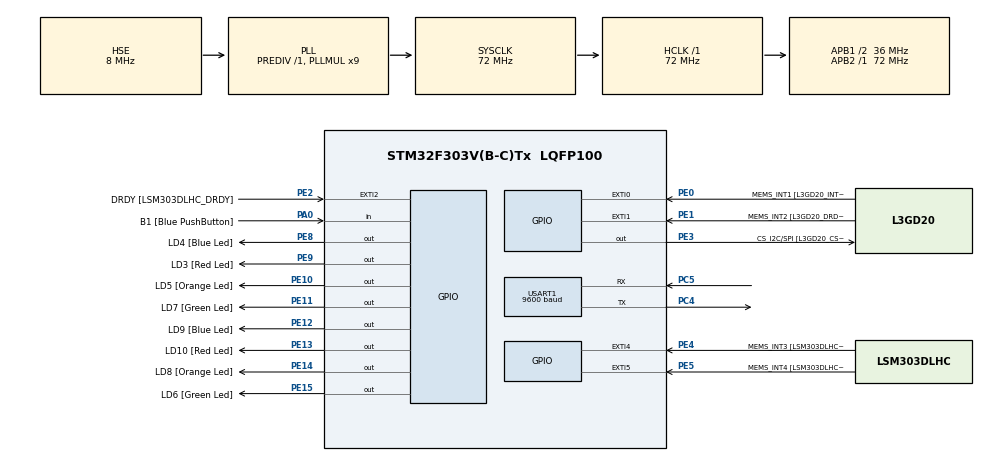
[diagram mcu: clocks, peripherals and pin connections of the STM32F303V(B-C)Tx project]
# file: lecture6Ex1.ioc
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Mcu.Family=STM32F3
Mcu.Name=STM32F303V(B-C)Tx
Mcu.Package=LQFP100
NVIC.PriorityGroup=NVIC_PRIORITYGROUP_0
NVIC.USART1_IRQn=true\:0\:0\:false\:false\:true\:true\:true
PA0.GPIO_Label=B1 [Blue PushButton]
PA0.GPIO_Mode=GPIO_MODE_INPUT
PA0.GPIO_PuPd=GPIO_NOPULL
PA0.Signal=GPIO_Input
PA11.GPIO_Label=DM
PA11.Signal=USB_DM
PA12.GPIO_Label=DP
PA12.Signal=USB_DP
PA13.GPIO_Label=SWDIO
PA13.Signal=SYS_JTMS-SWDIO
PA14.GPIO_Label=SWCLK
PA14.Signal=SYS_JTCK-SWCLK
PA5.GPIO_Label=SPI1_SCK [L3GD20_SCL/SPC]
PA5.GPIO_Mode=GPIO_MODE_AF_PP
PA5.GPIO_PuPd=GPIO_NOPULL
PA5.GPIO_Speed=GPIO_SPEED_FREQ_LOW
PA5.Signal=SPI1_SCK
PA6.GPIO_Label=SPI1_MISO [L3GD20_SA0/SDO]
PA6.GPIO_Mode=GPIO_MODE_AF_PP
PA6.GPIO_PuPd=GPIO_NOPULL
PA6.GPIO_Speed=GPIO_SPEED_FREQ_LOW
PA6.Signal=SPI1_MISO
PA7.GPIO_Label=SPI1_MISO [L3GD20_SDA/SDI/SDO]
PA7.GPIO_Mode=GPIO_MODE_AF_PP
PA7.GPIO_PuPd=GPIO_NOPULL
PA7.GPIO_Speed=GPIO_SPEED_FREQ_LOW
PA7.Signal=SPI1_MOSI
PB3.GPIO_Label=SWO
PB3.Signal=SYS_JTDO-TRACESWO
PB6.GPIO_FM6=__NULL
PB6.GPIO_Label=I2C1_SCL [LSM303DLHC_SCL]
PB6.GPIO_Mode=GPIO_MODE_AF_OD
PB6.GPIO_PuPd=GPIO_NOPULL
PB6.GPIO_Speed=GPIO_SPEED_FREQ_LOW
PB6.Signal=I2C1_SCL
PB7.GPIO_FM7=__NULL
PB7.GPIO_Label=I2C1_SDA [LSM303DLHC_SDA]
PB7.GPIO_Mode=GPIO_MODE_AF_OD
PB7.GPIO_PuPd=GPIO_NOPULL
PB7.GPIO_Speed=GPIO_SPEED_FREQ_LOW
PB7.Signal=I2C1_SDA
PC14-OSC32_IN.GPIO_Label=OSC32_IN
PC14-OSC32_IN.Signal=RCC_OSC32_IN
PC15-OSC32_OUT.GPIO_Label=OSC32_OUT
PC15-OSC32_OUT.Signal=RCC_OSC32_OUT
PC4.Mode=Asynchronous
PC4.Signal=USART1_TX
PC5.Mode=Asynchronous
PC5.Signal=USART1_RX
PE0.GPIO_Label=MEMS_INT1 [L3GD20_INT1]
PE0.GPIO_ModeDefaultEXTI=GPIO_MODE_EVT_RISING
PE0.GPIO_PuPd=GPIO_NOPULL
PE0.Signal=GPXTI0
PE1.GPIO_Label=MEMS_INT2 [L3GD20_DRDY/INT2]
PE1.GPIO_ModeDefaultEXTI=GPIO_MODE_EVT_RISING
PE1.GPIO_PuPd=GPIO_NOPULL
PE1.Signal=GPXTI1
PE10.GPIO_Label=LD5 [Orange Led]
PE10.GPIO_ModeDefaultOutputPP=GPIO_MODE_OUTPUT_PP
PE10.GPIO_PuPd=GPIO_NOPULL
PE10.GPIO_Speed=GPIO_SPEED_FREQ_LOW
PE10.Signal=GPIO_Output
PE11.GPIO_Label=LD7 [Green Led]
PE11.GPIO_ModeDefaultOutputPP=GPIO_MODE_OUTPUT_PP
PE11.GPIO_PuPd=GPIO_NOPULL
PE11.GPIO_Speed=GPIO_SPEED_FREQ_LOW
PE11.Signal=GPIO_Output
PE12.GPIO_Label=LD9 [Blue Led]
PE12.GPIO_ModeDefaultOutputPP=GPIO_MODE_OUTPUT_PP
PE12.GPIO_PuPd=GPIO_NOPULL
PE12.GPIO_Speed=GPIO_SPEED_FREQ_LOW
PE12.Signal=GPIO_Output
PE13.GPIO_Label=LD10 [Red Led]
PE13.GPIO_ModeDefaultOutputPP=GPIO_MODE_OUTPUT_PP
PE13.GPIO_PuPd=GPIO_NOPULL
PE13.GPIO_Speed=GPIO_SPEED_FREQ_LOW
PE13.Signal=GPIO_Output
PE14.GPIO_Label=LD8 [Orange Led]
PE14.GPIO_ModeDefaultOutputPP=GPIO_MODE_OUTPUT_PP
PE14.GPIO_PuPd=GPIO_NOPULL
PE14.GPIO_Speed=GPIO_SPEED_FREQ_LOW
PE14.Signal=GPIO_Output
PE15.GPIO_Label=LD6 [Green Led]
PE15.GPIO_ModeDefaultOutputPP=GPIO_MODE_OUTPUT_PP
PE15.GPIO_PuPd=GPIO_NOPULL
PE15.GPIO_Speed=GPIO_SPEED_FREQ_LOW
PE15.Signal=GPIO_Output
PE2.GPIO_Label=DRDY [LSM303DLHC_DRDY]
PE2.GPIO_ModeDefaultEXTI=GPIO_MODE_EVT_RISING
PE2.GPIO_PuPd=GPIO_NOPULL
PE2.Signal=GPXTI2
PE3.GPIO_Label=CS_I2C/SPI [L3GD20_CS_I2C/SPI]
PE3.GPIO_ModeDefaultOutputPP=GPIO_MODE_OUTPUT_PP
PE3.GPIO_PuPd=GPIO_NOPULL
PE3.GPIO_Speed=GPIO_SPEED_FREQ_LOW
PE3.Signal=GPIO_Output
PE4.GPIO_Label=MEMS_INT3 [LSM303DLHC_INT1]
PE4.GPIO_ModeDefaultEXTI=GPIO_MODE_EVT_RISING
PE4.GPIO_PuPd=GPIO_NOPULL
PE4.Signal=GPXTI4
PE5.GPIO_Label=MEMS_INT4 [LSM303DLHC_INT2]
PE5.GPIO_ModeDefaultEXTI=GPIO_MODE_EVT_RISING
PE5.GPIO_PuPd=GPIO_NOPULL
PE5.Signal=GPXTI5
PE8.GPIO_Label=LD4 [Blue Led]
PE8.GPIO_ModeDefaultOutputPP=GPIO_MODE_OUTPUT_PP
PE8.GPIO_PuPd=GPIO_NOPULL
PE8.GPIO_Speed=GPIO_SPEED_FREQ_LOW
PE8.Signal=GPIO_Output
PE9.GPIO_Label=LD3 [Red Led]
PE9.GPIO_ModeDefaultOutputPP=GPIO_MODE_OUTPUT_PP
PE9.GPIO_PuPd=GPIO_NOPULL
PE9.GPIO_Speed=GPIO_SPEED_FREQ_LOW
PE9.Signal=GPIO_Output
PF0-OSC_IN.GPIO_Label=OSC_IN
PF0-OSC_IN.Mode=HSE-External-Oscillator
PF0-OSC_IN.Signal=RCC_OSC_IN
PF1-OSC_OUT.GPIO_Label=OSC_OUT
PF1-OSC_OUT.Mode=HSE-External-Oscillator
PF1-OSC_OUT.Signal=RCC_OSC_OUT
ProjectManager.HeapSize=0x200
ProjectManager.StackSize=0x400
ProjectManager.TargetToolchain=MDK-ARM V5.27
RCC.AHBFreq_Value=72000000
RCC.APB1CLKDivider=RCC_HCLK_DIV2
RCC.APB1Freq_Value=36000000
RCC.APB1TimFreq_Value=72000000
RCC.APB2Freq_Value=72000000
RCC.APB2TimFreq_Value=72000000
RCC.CortexFreq_Value=72000000
RCC.HCLKFreq_Value=72000000
RCC.HSE_VALUE=8000000
RCC.HSI_VALUE=8000000
RCC.LSE_VALUE=32768
RCC.PLLMUL=RCC_PLL_MUL9
RCC.PLLSourceVirtual=RCC_PLLSOURCE_HSE
RCC.SYSCLKFreq_VALUE=72000000
RCC.SYSCLKSourceVirtual=RCC_SYSCLKSOURCE_PLLCLK
RCC.USBFreq_Value=72000000
USART1.BaudRate=9600
USART1.VirtualMode-Asynchronous=VM_ASYNC
board=STM32F3DISCOVERY

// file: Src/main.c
/* USER CODE BEGIN Header */
/**
  ******************************************************************************
  * @file           : main.c
  * @brief          : Ex1 - Reimplement UART driver with Interrupts

  ******************************************************************************
  * @attention
  *
  * <h2><center>&copy; Copyright (c) 2020 STMicroelectronics.
  * All rights reserved.</center></h2>
  *
  * This software component is licensed by ST under BSD 3-Clause license,
  * the "License"; You may not use this file except in compliance with the
  * License. You may obtain a copy of the License at:
  *                        opensource.org/licenses/BSD-3-Clause
  *
  ******************************************************************************
  */
/* USER CODE END Header */

#include "main.h"

UART_HandleTypeDef huart1;

void SystemClock_Config(void);
static void MX_GPIO_Init(void);
static void MX_USART1_UART_Init(void);

int main(void)
{

  /* MCU Configuration--------------------------------------------------------*/

  /* Reset of all peripherals, Initializes the Flash interface and the Systick. */
  HAL_Init();

  /* Configure the system clock */
  SystemClock_Config();

  /* Initialize all configured peripherals */
  MX_GPIO_Init();
  MX_USART1_UART_Init();
  /* USER CODE BEGIN 2 */

  /*! user command manual */
	HAL_UART_Transmit_IT(&huart1, (uint8_t*)"For [BLUE-LED] send symbol: b\rFor [ORANGE-LED] send symbol: o\rFor [GREEN-LED] send symbol: g\rFor [BLUE-LED] send symbol: b\r", 123);

	uint8_t data = 0;

  /* USER CODE END 2 */

  /* Infinite loop */
  /* USER CODE BEGIN WHILE */
	 while (1) {
	  if (HAL_UART_Receive_IT(&huart1, &data, 1) == HAL_OK) {
			switch(data) {
				case 'b':
					HAL_GPIO_TogglePin (GPIOE, GPIO_PIN_8);
					HAL_GPIO_TogglePin (GPIOE, GPIO_PIN_12);
				break;

				case 'r':
					HAL_GPIO_TogglePin (GPIOE, GPIO_PIN_9);
				  HAL_GPIO_TogglePin (GPIOE, GPIO_PIN_13);
				break;

				case 'o':
					HAL_GPIO_TogglePin (GPIOE, GPIO_PIN_10);
				  HAL_GPIO_TogglePin (GPIOE, GPIO_PIN_14);
				break;

				case 'g':
					HAL_GPIO_TogglePin (GPIOE, GPIO_PIN_11);
				  HAL_GPIO_TogglePin (GPIOE, GPIO_PIN_15);
				break;

				default:
					/*! write data */
					HAL_UART_Transmit_IT(&huart1, &data, 1);
	  }

	}

    /* USER CODE END WHILE */

  }
}

void SystemClock_Config(void)
{
  RCC_OscInitTypeDef RCC_OscInitStruct = {0};
  RCC_ClkInitTypeDef RCC_ClkInitStruct = {0};
  RCC_PeriphCLKInitTypeDef PeriphClkInit = {0};

  /** Initializes the CPU, AHB and APB busses clocks
  */
  RCC_OscInitStruct.OscillatorType = RCC_OSCILLATORTYPE_HSE;
  RCC_OscInitStruct.HSEState = RCC_HSE_ON;
  RCC_OscInitStruct.HSEPredivValue = RCC_HSE_PREDIV_DIV1;
  RCC_OscInitStruct.HSIState = RCC_HSI_ON;
  RCC_OscInitStruct.PLL.PLLState = RCC_PLL_ON;
  RCC_OscInitStruct.PLL.PLLSource = RCC_PLLSOURCE_HSE;
  RCC_OscInitStruct.PLL.PLLMUL = RCC_PLL_MUL9;
  if (HAL_RCC_OscConfig(&RCC_OscInitStruct) != HAL_OK)
  {
    Error_Handler();
  }
  /** Initializes the CPU, AHB and APB busses clocks
  */
  RCC_ClkInitStruct.ClockType = RCC_CLOCKTYPE_HCLK|RCC_CLOCKTYPE_SYSCLK
                              |RCC_CLOCKTYPE_PCLK1|RCC_CLOCKTYPE_PCLK2;
  RCC_ClkInitStruct.SYSCLKSource = RCC_SYSCLKSOURCE_PLLCLK;
  RCC_ClkInitStruct.AHBCLKDivider = RCC_SYSCLK_DIV1;
  RCC_ClkInitStruct.APB1CLKDivider = RCC_HCLK_DIV2;
  RCC_ClkInitStruct.APB2CLKDivider = RCC_HCLK_DIV1;

  if (HAL_RCC_ClockConfig(&RCC_ClkInitStruct, FLASH_LATENCY_2) != HAL_OK)
  {
    Error_Handler();
  }
  PeriphClkInit.PeriphClockSelection = RCC_PERIPHCLK_USART1;
  PeriphClkInit.Usart1ClockSelection = RCC_USART1CLKSOURCE_PCLK2;
  if (HAL_RCCEx_PeriphCLKConfig(&PeriphClkInit) != HAL_OK)
  {
    Error_Handler();
  }
}

static void MX_USART1_UART_Init(void)
{

  huart1.Instance = USART1;
  huart1.Init.BaudRate = 9600;
  huart1.Init.WordLength = UART_WORDLENGTH_8B;
  huart1.Init.StopBits = UART_STOPBITS_1;
  huart1.Init.Parity = UART_PARITY_NONE;
  huart1.Init.Mode = UART_MODE_TX_RX;
  huart1.Init.HwFlowCtl = UART_HWCONTROL_NONE;
  huart1.Init.OverSampling = UART_OVERSAMPLING_16;
  huart1.Init.OneBitSampling = UART_ONE_BIT_SAMPLE_DISABLE;
  huart1.AdvancedInit.AdvFeatureInit = UART_ADVFEATURE_NO_INIT;
  if (HAL_UART_Init(&huart1) != HAL_OK)
  {
    Error_Handler();
  }

}

static void MX_GPIO_Init(void)
{
  GPIO_InitTypeDef GPIO_InitStruct = {0};

  /* GPIO Ports Clock Enable */
  __HAL_RCC_GPIOE_CLK_ENABLE();
  __HAL_RCC_GPIOC_CLK_ENABLE();
  __HAL_RCC_GPIOF_CLK_ENABLE();
  __HAL_RCC_GPIOA_CLK_ENABLE();
  __HAL_RCC_GPIOB_CLK_ENABLE();

  /*Configure GPIO pin Output Level */
  HAL_GPIO_WritePin(GPIOE, CS_I2C_SPI_Pin|LD4_Pin|LD3_Pin|LD5_Pin
                          |LD7_Pin|LD9_Pin|LD10_Pin|LD8_Pin
                          |LD6_Pin, GPIO_PIN_RESET);

  /*Configure GPIO pins : DRDY_Pin MEMS_INT3_Pin MEMS_INT4_Pin MEMS_INT1_Pin
                           MEMS_INT2_Pin */
  GPIO_InitStruct.Pin = DRDY_Pin|MEMS_INT3_Pin|MEMS_INT4_Pin|MEMS_INT1_Pin
                          |MEMS_INT2_Pin;
  GPIO_InitStruct.Mode = GPIO_MODE_EVT_RISING;
  GPIO_InitStruct.Pull = GPIO_NOPULL;
  HAL_GPIO_Init(GPIOE, &GPIO_InitStruct);

  /*Configure GPIO pins : CS_I2C_SPI_Pin LD4_Pin LD3_Pin LD5_Pin
                           LD7_Pin LD9_Pin LD10_Pin LD8_Pin
                           LD6_Pin */
  GPIO_InitStruct.Pin = CS_I2C_SPI_Pin|LD4_Pin|LD3_Pin|LD5_Pin
                          |LD7_Pin|LD9_Pin|LD10_Pin|LD8_Pin
                          |LD6_Pin;
  GPIO_InitStruct.Mode = GPIO_MODE_OUTPUT_PP;
  GPIO_InitStruct.Pull = GPIO_NOPULL;
  GPIO_InitStruct.Speed = GPIO_SPEED_FREQ_LOW;
  HAL_GPIO_Init(GPIOE, &GPIO_InitStruct);

  /*Configure GPIO pin : B1_Pin */
  GPIO_InitStruct.Pin = B1_Pin;
  GPIO_InitStruct.Mode = GPIO_MODE_INPUT;
  GPIO_InitStruct.Pull = GPIO_NOPULL;
  HAL_GPIO_Init(B1_GPIO_Port, &GPIO_InitStruct);

  /*Configure GPIO pins : SPI1_SCK_Pin SPI1_MISO_Pin SPI1_MISOA7_Pin */
  GPIO_InitStruct.Pin = SPI1_SCK_Pin|SPI1_MISO_Pin|SPI1_MISOA7_Pin;
  GPIO_InitStruct.Mode = GPIO_MODE_AF_PP;
  GPIO_InitStruct.Pull = GPIO_NOPULL;
  GPIO_InitStruct.Speed = GPIO_SPEED_FREQ_LOW;
  GPIO_InitStruct.Alternate = GPIO_AF5_SPI1;
  HAL_GPIO_Init(GPIOA, &GPIO_InitStruct);

  /*Configure GPIO pins : DM_Pin DP_Pin */
  GPIO_InitStruct.Pin = DM_Pin|DP_Pin;
  GPIO_InitStruct.Mode = GPIO_MODE_AF_PP;
  GPIO_InitStruct.Pull = GPIO_NOPULL;
  GPIO_InitStruct.Speed = GPIO_SPEED_FREQ_HIGH;
  GPIO_InitStruct.Alternate = GPIO_AF14_USB;
  HAL_GPIO_Init(GPIOA, &GPIO_InitStruct);

  /*Configure GPIO pins : I2C1_SCL_Pin I2C1_SDA_Pin */
  GPIO_InitStruct.Pin = I2C1_SCL_Pin|I2C1_SDA_Pin;
  GPIO_InitStruct.Mode = GPIO_MODE_AF_OD;
  GPIO_InitStruct.Pull = GPIO_PULLUP;
  GPIO_InitStruct.Speed = GPIO_SPEED_FREQ_LOW;
  GPIO_InitStruct.Alternate = GPIO_AF4_I2C1;
  HAL_GPIO_Init(GPIOB, &GPIO_InitStruct);

}

void Error_Handler(void)
{
}

/************************ (C) COPYRIGHT STMicroelectronics *****END OF FILE****/
